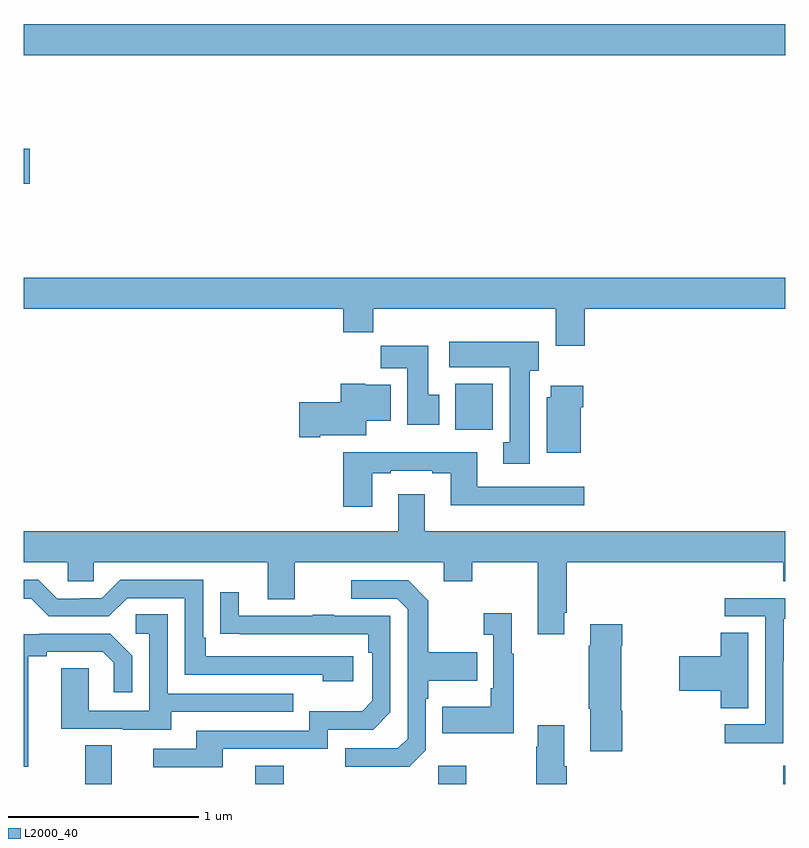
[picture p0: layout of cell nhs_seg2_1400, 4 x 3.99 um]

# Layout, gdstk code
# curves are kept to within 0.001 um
import gdstk
lib = gdstk.Library(unit=1e-6, precision=1e-09)
def R(c, l, rs):  # rectangles x0, y0, x1, y1
    for r in rs: c.add(gdstk.rectangle(r[:2], r[2:], *l))
def P(c, l, *ps):  # polygons
    for p in ps: c.add(gdstk.Polygon(p, *l))
L2000_40 = (2000, 40)

nhs_seg2_1400 = lib.new_cell('nhs_seg2_1400')
R(nhs_seg2_1400, L2000_40, [(183.323,651.8,183.463,652.004), (184.217,651.8,184.365,651.895), (185.178,651.8,185.325,651.895), (186.989,651.8,187,651.895), (185.267,653.66,185.464,653.902), (183,654.953,183.031,655.136), (183,655.628,187,655.792)])
P(nhs_seg2_1400, L2000_40, [(185.948,654.296),(187,654.296),(187,654.46),(183,654.46),(183,654.296),(184.679,654.296),(184.679,654.172),(184.835,654.172),(184.835,654.296),(185.795,654.296),(185.795,654.102),(185.948,654.102)],
  [(185.659,653.97),(185.704,653.97),(185.704,654.124),(185.235,654.124),(185.235,653.99),(185.552,653.99),(185.552,653.594),(185.519,653.594),(185.519,653.481),(185.659,653.481)],
  [(185.182,653.844),(185.125,653.844),(185.125,654.103),(184.876,654.103),(184.876,653.984),(185.015,653.984),(185.015,653.688),(185.182,653.688)],
  [(184.558,653.633),(184.798,653.633),(184.798,653.708),(184.927,653.708),(184.927,653.896),(184.794,653.896),(184.794,653.902),(184.664,653.902),(184.664,653.804),(184.446,653.804),(184.446,653.621),(184.558,653.621)],
  [(185.926,653.78),(185.939,653.78),(185.939,653.893),(185.768,653.893),(185.768,653.832),(185.747,653.832),(185.747,653.54),(185.926,653.54)],
  [(184.831,653.433),(184.927,653.433),(184.927,653.445),(185.147,653.445),(185.147,653.433),(185.243,653.433),(185.243,653.264),(185.944,653.264),(185.944,653.361),(185.383,653.361),(185.383,653.542),(184.679,653.542),(184.679,653.256),(184.831,653.256)],
  [(185.839,652.699),(185.852,652.699),(185.852,652.964),(186.989,652.964),(186.989,652.865),(187,652.865),(187,653.128),(185.107,653.128),(185.107,653.323),(184.967,653.323),(184.967,653.128),(183,653.128),(183,652.964),(183.231,652.964),(183.231,652.866),(183.369,652.866),(183.369,652.964),(184.283,652.964),(184.283,652.77),(184.423,652.77),(184.423,652.964),(185.207,652.964),(185.207,652.865),(185.355,652.865),(185.355,652.964),(185.699,652.964),(185.699,652.587),(185.839,652.587)],
  [(184.732,652.47),(183.955,652.47),(183.955,652.567),(183.942,652.567),(183.942,652.872),(183.507,652.872),(183.411,652.776),(183.293,652.776),(183.293,652.773),(183.177,652.773),(183.077,652.873),(183,652.873),(183,652.773),(183.039,652.773),(183.132,652.68),(183.447,652.68),(183.543,652.776),(183.846,652.776),(183.846,652.374),(184.571,652.374),(184.571,652.34),(184.732,652.34)],
  [(185.112,651.978),(185.112,652.247),(185.125,652.247),(185.125,652.343),(185.381,652.343),(185.381,652.491),(185.125,652.491),(185.125,652.763),(185.019,652.869),(184.719,652.869),(184.719,652.773),(184.962,652.773),(185.016,652.719),(185.016,652.038),(184.965,651.987),(184.689,651.987),(184.689,651.891),(185.025,651.891)],
  [(184.045,651.984),(184.596,651.984),(184.596,652.086),(184.836,652.086),(184.926,652.176),(184.926,652.683),(184.631,652.683),(184.631,652.688),(184.519,652.688),(184.519,652.683),(184.129,652.683),(184.129,652.807),(184.033,652.807),(184.033,652.588),(184.81,652.587),(184.81,652.49),(184.83,652.49),(184.83,652.236),(184.777,652.183),(184.5,652.183),(184.5,652.08),(183.905,652.08),(183.905,651.984),(183.681,651.984),(183.681,651.888),(184.045,651.888)],
  [(186.99,652.444),(186.993,652.444),(186.993,652.668),(187,652.668),(187,652.776),(186.681,652.776),(186.681,652.68),(186.894,652.68),(186.894,652.113),(186.681,652.113),(186.681,652.015),(186.99,652.015)],
  [(185.575,652.483),(185.563,652.483),(185.563,652.696),(185.415,652.696),(185.415,652.583),(185.466,652.583),(185.466,652.303),(185.454,652.303),(185.454,652.207),(185.197,652.207),(185.197,652.067),(185.575,652.067)],
  [(183.775,652.179),(184.415,652.179),(184.415,652.275),(183.756,652.275),(183.756,652.691),(183.588,652.691),(183.588,652.59),(183.66,652.59),(183.66,652.185),(183.342,652.185),(183.342,652.409),(183.197,652.409),(183.197,652.089),(183.521,652.089),(183.521,652.085),(183.775,652.085)],
  [(186.143,652.184),(186.138,652.184),(186.138,652.526),(186.143,652.526),(186.143,652.639),(185.975,652.639),(185.975,652.526),(185.968,652.526),(185.968,652.195),(185.975,652.195),(185.975,651.972),(186.143,651.972)],
  [(186.805,652.595),(186.662,652.595),(186.662,652.472),(186.444,652.472),(186.444,652.289),(186.662,652.289),(186.662,652.198),(186.805,652.198)],
  [(183.025,652.472),(183.121,652.472),(183.121,652.494),(183.416,652.494),(183.473,652.437),(183.473,652.281),(183.57,652.281),(183.57,652.474),(183.454,652.59),(183.082,652.59),(183.082,652.587),(183,652.587),(183,651.891),(183.025,651.891)],
  [(185.852,651.892),(185.839,651.892),(185.839,652.108),(185.699,652.108),(185.699,651.995),(185.692,651.995),(185.692,651.8),(185.852,651.8)])

lib.write_gds('nhs_seg2_1400.gds')
